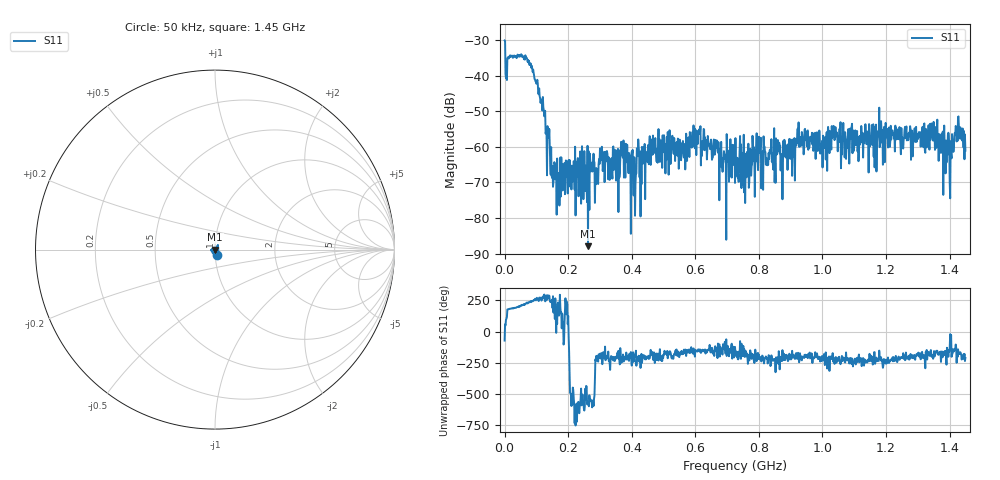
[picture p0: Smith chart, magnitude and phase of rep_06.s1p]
! Created with skrf 1.11.0 (http://scikit-rf.org).
# Hz S RI R 50.0
!freq ReS11 ImS11
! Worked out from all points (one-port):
!   1001 points, 50 kHz to 1.45 GHz, reference 50 ohm
!   lowest |S11| = -87.9 dB at 262.5 MHz (marker M1), VSWR 1.00, Z = 50 + j0.0016 ohm
!   |S11| at or under -10 dB: start of sweep to end of sweep
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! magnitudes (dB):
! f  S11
! 50 kHz  -30.1
! 84.15 MHz  -37.8
! 120.4 MHz  -46.0
! 156.6 MHz  -64.3
! 181.3 MHz  -64.8
! 262.5 MHz  -87.9
! 291.5 MHz  -66.8
! 306 MHz  -60.0
! 362.5 MHz  -67.3
! 388.6 MHz  -65.4
! 404.6 MHz  -68.0
! 468.4 MHz  -61.8
! 543.8 MHz  -62.5
! 609 MHz  -56.0
! 665.6 MHz  -60.3
! 690.2 MHz  -61.2
! 725 MHz  -70.1
! 761.3 MHz  -68.5
! 799 MHz  -62.1
! 814.9 MHz  -57.0
! 906.3 MHz  -61.4
! 929.5 MHz  -59.9
! 1.088 GHz  -54.8
! 1.269 GHz  -57.4
! 1.346 GHz  -57.3
! 1.395 GHz  -56.6
! 1.434 GHz  -54.5
! 1.45 GHz  -61.1
